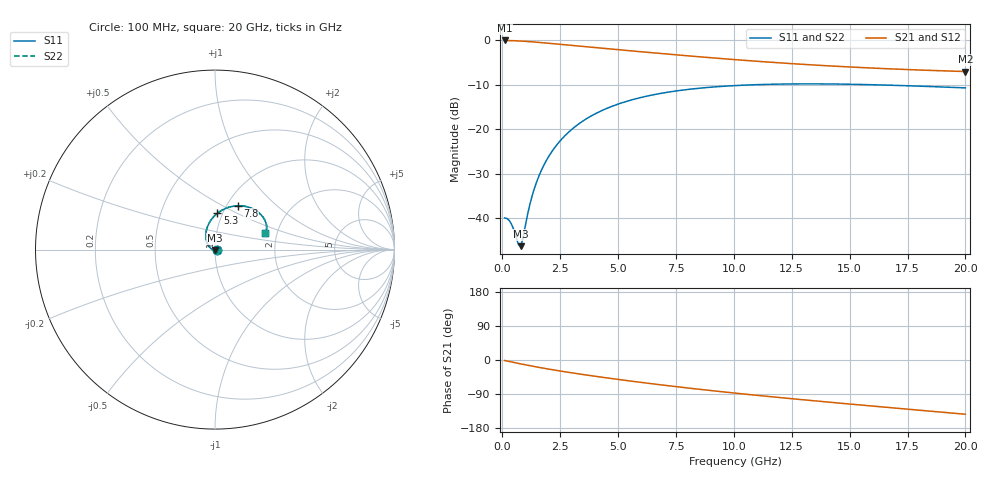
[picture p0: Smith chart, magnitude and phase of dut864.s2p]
! Touchstone file exported from HFSS 2024.1.0
!  File:  C:/UserFiles/LocalFiles/RDL_TSV_Batchsim/temp_RDL_TSV_864_1779925735.aedt
!  Generated:  08:03:21 AM May 28, 2026
!  Design:  RDL_TSV
!  Project:  temp_RDL_TSV_864_1779925735
!  Setup:  Setup1
!  Solution:  Sweep
! Variables:
!  dtsv = 9.04um
!  hbump = 3um
!  htsv = 69.97um
!  ldown = 173.08um
!  lrdl = 352.09um
!  p = 40
!  p1 = 52.41um
!  rhole = 10um
!  subl = 1927.6um
!  t = 450um
!  tdown = 2.86um
!  trdl = 4.43um
!  viad = 10um
!  wdown = 11.96um
!  wrdl = 29.17um
!  xbump = 18um
# GHz S MA R 50.000000
! Terminal data exported
! Port[1] = TM1_1_T1
! Port[2] = TM1_4_T1
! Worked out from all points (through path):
!   200 points, 100 MHz to 20 GHz, reference 50 ohm
!   highest |S21| = -0.09 dB at 100 MHz (marker M1); lowest = -7.1 dB at 20 GHz (marker M2)
!   group delay of S21, straight-line fit = 18.8 ps
!   lowest |S11| = -46.2 dB at 800 MHz (marker M3), VSWR 1.01, Z = 49.9 - j0.465 ohm
!   |S11| at or under -10 dB: start of sweep to 11.02 GHz; 15.83 GHz to end of sweep
!   |S22| runs from -46.2 to -9.8 dB; largest |S21 - S12| = 9.9e-15
!   S11 on the Smith chart (normalised r, x): 100 MHz: 1.02, -0.00; 5.3 GHz: 0.95, +0.40; 7.8 GHz: 1.12, +0.59; 20 GHz: 1.72, +0.34
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0.1  0.01011 -3.5  0.9894 -1.3  0.9894 -1.3  0.01011 -3.5
! Gamma 0 0 0 0
! Port Impedance 50 0 50 0
0.3  0.00947 -15.3  0.9867 -4.0  0.9867 -4.0  0.009467 -15.3
0.4  0.008595 -23.7  0.9849 -5.2  0.9849 -5.2  0.008589 -23.7
0.7  0.005059 -74.0  0.9773 -9.0  0.9773 -9.0  0.005049 -74.2
0.8  0.004881 -107.3  0.9741 -10.3  0.9741 -10.3  0.00488 -107.5
0.9  0.00609 -138.1  0.9707 -11.5  0.9707 -11.5  0.006102 -138.3
1.1  0.01132 -171.6  0.963 -13.9  0.963 -13.9  0.01135 -171.7
1.3  0.01834 172.3  0.9544 -16.3  0.9544 -16.3  0.01839 172.3
1.5  0.02638 161.9  0.9452 -18.6  0.9452 -18.6  0.02645 161.9
1.8  0.03973 150.5  0.9305 -21.9  0.9305 -21.9  0.03983 150.4
2.1  0.05412 141.4  0.9153 -25.0  0.9153 -25.0  0.05425 141.4
2.5  0.07417 131.3  0.895 -29.1  0.895 -29.1  0.07434 131.3
3  0.09959 120.6  0.87 -33.9  0.87 -33.9  0.09983 120.6
3.5  0.1245 111.4  0.8459 -38.5  0.8459 -38.5  0.1248 111.5
4.3  0.1619 99.0  0.8094 -45.4  0.8094 -45.4  0.1623 99.0
5.3  0.2028 86.2  0.7668 -53.7  0.7668 -53.7  0.2033 86.3
6.8  0.2511 70.9  0.7082 -65.2  0.7082 -65.2  0.2517 70.9
7.8  0.2749 62.5  0.6725 -72.4  0.6725 -72.4  0.2757 62.6
10.1  0.3091 47.3  0.6015 -87.7  0.6015 -87.7  0.31 47.3
13.4  0.3225 32.2  0.5259 -107.3  0.5259 -107.3  0.3236 32.3
16.7  0.3119 22.9  0.4758 -125.5  0.4758 -125.5  0.3131 22.9
20  0.2908 18.4  0.4434 -143.2  0.4434 -143.2  0.2921 18.4
